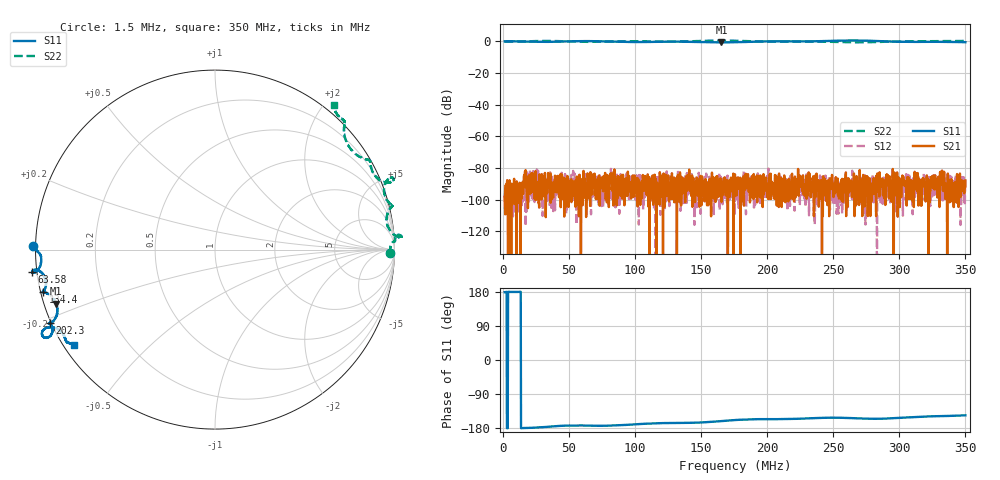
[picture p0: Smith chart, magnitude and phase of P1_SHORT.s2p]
# Hz S RI R 50
! RAW DATA - UNCALIBRATED
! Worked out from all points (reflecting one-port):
!   1601 points, 1.5 MHz to 350 MHz, reference 50 ohm
!   lowest |S11| = -0.6 dB at 165.5 MHz (marker M1), VSWR 29.54, Z = 1.74 - j8.26 ohm
!   phase of S11 starts at 179 deg and turns +35 deg over the sweep
!   S11 on the Smith chart (normalised r, x): 1.5 MHz: -0.01, +0.01; 63.58 MHz: -0.01, -0.06; 134.4 MHz: 0.01, -0.12; 202.3 MHz: -0.00, -0.21; 350 MHz: 0.03, -0.31
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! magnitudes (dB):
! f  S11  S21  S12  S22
! 1.5 MHz  0.1  -98.2  -99.2  -0.2
! 31.99 MHz  -0.3  -83.1  -97.8  0.4
! 40.49 MHz  -0.2  -87.9  -94.8  0.3
! 59.66 MHz  0.2  -91.4  -92.5  -0.2
! 63.58 MHz  0.2  -89.6  -91.4  -0.3
! 73.6 MHz  0.1  -99.6  -88.6  -0.2
! 96.03 MHz  -0.3  -94.8  -97.2  0.1
! 106.3 MHz  -0.3  -86.4  -106.1  0.1
! 117.8 MHz  -0.2  -90.7  -86.5  0.0
! 134.4 MHz  -0.1  -93.4  -93.4  0.0
! 157.5 MHz  -0.5  -91.2  -95.8  0.5
! 165.5 MHz  -0.6  -101.4  -91.8  0.6
! 175.8 MHz  -0.5  -84.0  -89.5  0.5
! 202.3 MHz  0.1  -99.5  -93.4  -0.2
! 233.9 MHz  0.1  -89.2  -89.9  -0.1
! 257.2 MHz  0.6  -90.4  -92.4  -0.4
! 265.3 MHz  0.6  -89.0  -95.1  -0.5
! 274.9 MHz  0.5  -93.1  -98.5  -0.5
! 292.1 MHz  0.0  -91.3  -95.7  -0.2
! 304.7 MHz  -0.2  -90.1  -98.1  0.1
! 331.9 MHz  -0.2  -83.5  -99.1  0.1
! 350 MHz  -0.5  -87.8  -88.7  0.4
